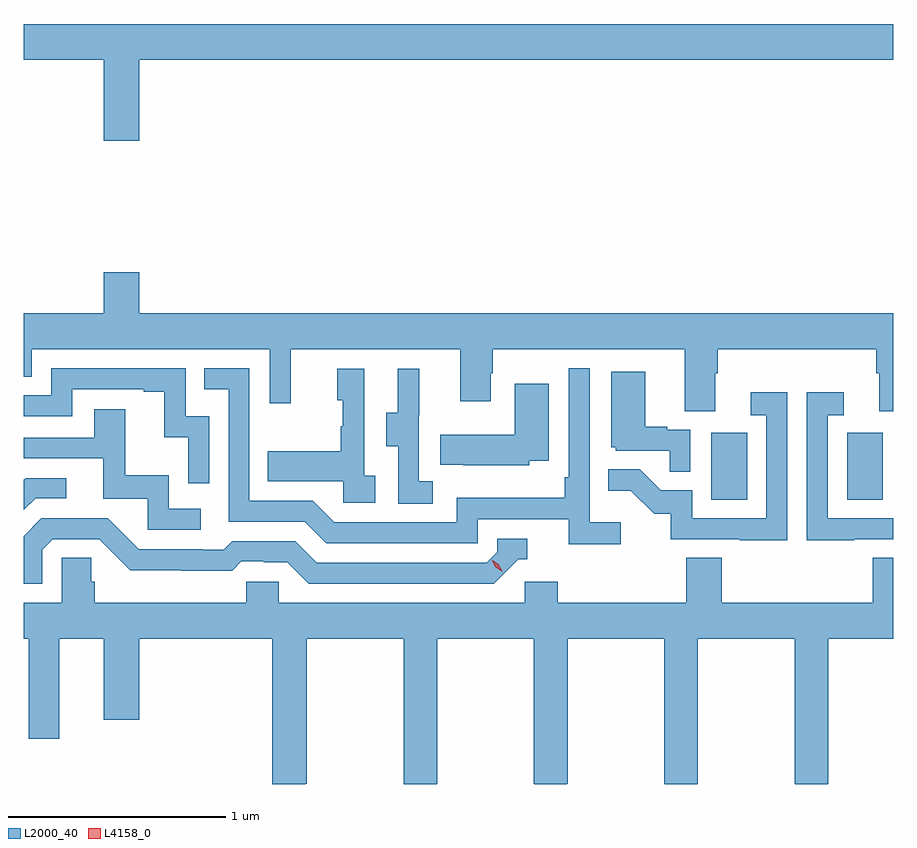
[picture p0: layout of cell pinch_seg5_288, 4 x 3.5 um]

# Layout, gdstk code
import gdstk
lib = gdstk.Library(unit=1e-6, precision=1e-09)
def R(c, l, rs):  # rectangles x0, y0, x1, y1
    for r in rs: c.add(gdstk.rectangle(r[:2], r[2:], *l))
def P(c, l, *ps):  # polygons
    for p in ps: c.add(gdstk.Polygon(p, *l))
L2000_40 = (2000, 40)
L4158_0 = (4158, 0)

pinch_seg5_288 = lib.new_cell('pinch_seg5_288')
R(pinch_seg5_288, L2000_40, [(947.024,909.348,947.188,909.655), (947.648,909.348,947.812,909.655)])
P(pinch_seg5_288, L2000_40, [(944.392,911.372),(947.86,911.372),(947.86,911.536),(943.86,911.536),(943.86,911.372),(944.228,911.372),(944.228,910.998),(944.392,910.998)],
  [(947.041,909.928),(947.054,909.928),(947.054,910.04),(947.783,910.04),(947.783,909.928),(947.795,909.928),(947.795,909.754),(947.86,909.754),(947.86,910.204),(944.392,910.204),(944.392,910.393),(944.228,910.393),(944.228,910.204),(943.86,910.204),(943.86,909.913),(943.896,909.913),(943.896,910.04),(944.991,910.04),(944.991,909.792),(945.089,909.792),(945.089,910.04),(945.869,910.04),(945.869,909.801),(946.009,909.801),(946.009,909.929),(946.017,909.929),(946.017,910.04),(946.901,910.04),(946.901,909.754),(947.041,909.754)],
  [(946.606,909.244),(946.464,909.244),(946.464,909.952),(946.368,909.952),(946.368,909.451),(946.348,909.451),(946.348,909.355),(945.852,909.355),(945.852,909.243),(945.288,909.243),(945.189,909.342),(944.898,909.342),(944.898,909.951),(944.689,909.951),(944.689,909.855),(944.802,909.855),(944.802,909.246),(945.152,909.246),(945.251,909.147),(945.948,909.147),(945.948,909.258),(946.367,909.258),(946.367,909.142),(946.606,909.142)],
  [(944.712,909.732),(944.604,909.732),(944.604,909.951),(943.986,909.951),(943.986,909.828),(943.86,909.828),(943.86,909.732),(944.082,909.732),(944.082,909.855),(944.411,909.855),(944.411,909.843),(944.507,909.843),(944.507,909.635),(944.616,909.635),(944.616,909.423),(944.712,909.423)],
  [(945.478,909.458),(945.426,909.458),(945.426,909.949),(945.302,909.949),(945.302,909.804),(945.328,909.804),(945.328,909.686),(945.318,909.686),(945.318,909.571),(944.983,909.571),(944.983,909.431),(945.33,909.431),(945.33,909.333),(945.478,909.333)],
  [(945.742,909.431),(945.678,909.431),(945.678,909.735),(945.68,909.735),(945.68,909.949),(945.581,909.949),(945.581,909.747),(945.527,909.747),(945.527,909.592),(945.582,909.592),(945.582,909.328),(945.742,909.328)],
  [(946.926,909.669),(946.82,909.669),(946.82,909.682),(946.72,909.682),(946.72,909.937),(946.562,909.937),(946.562,909.588),(946.584,909.588),(946.584,909.573),(946.831,909.573),(946.831,909.475),(946.926,909.475)],
  [(946.185,909.527),(946.276,909.527),(946.276,909.88),(946.118,909.88),(946.118,909.646),(945.775,909.646),(945.775,909.509),(945.883,909.509),(945.883,909.506),(946.185,909.506)],
  [(947.373,909.841),(947.205,909.841),(947.205,909.735),(947.277,909.735),(947.277,909.261),(946.935,909.261),(946.935,909.39),(946.791,909.39),(946.693,909.488),(946.549,909.488),(946.549,909.389),(946.653,909.389),(946.76,909.282),(946.837,909.282),(946.837,909.165),(947.155,909.165),(947.155,909.16),(947.373,909.16)],
  [(947.681,909.165),(947.86,909.165),(947.86,909.261),(947.559,909.261),(947.559,909.735),(947.632,909.735),(947.632,909.841),(947.463,909.841),(947.463,909.16),(947.681,909.16)],
  [(944.674,909.306),(944.526,909.306),(944.526,909.46),(944.327,909.46),(944.327,909.763),(944.183,909.763),(944.183,909.633),(943.86,909.633),(943.86,909.537),(944.225,909.537),(944.225,909.351),(944.43,909.351),(944.43,909.21),(944.674,909.21)],
  [(943.914,909.354),(944.056,909.354),(944.056,909.447),(943.868,909.447),(943.86,909.439),(943.86,909.3)],
  [(943.944,909.117),(943.992,909.165),(944.208,909.165),(944.35,909.023),(944.586,909.023),(944.586,909.021),(944.819,909.021),(944.861,909.063),(944.964,909.063),(944.964,909.06),(945.071,909.06),(945.17,908.961),(946.023,908.961),(946.134,909.072),(946.177,909.072),(946.177,909.168),(946.038,909.168),(946.038,909.105),(945.99,909.057),(945.207,909.057),(945.108,909.156),(944.819,909.156),(944.78,909.117),(944.681,909.117),(944.681,909.12),(944.388,909.12),(944.247,909.261),(943.941,909.261),(943.86,909.18),(943.86,908.961),(943.944,908.961)],
  [(945.033,908.97),(944.883,908.97),(944.883,908.872),(944.186,908.872),(944.186,908.97),(944.171,908.97),(944.171,909.08),(944.034,909.08),(944.034,908.872),(943.86,908.872),(943.86,908.708),(943.883,908.708),(943.883,908.247),(944.023,908.247),(944.023,908.708),(944.228,908.708),(944.228,908.334),(944.392,908.334),(944.392,908.708),(945.002,908.708),(945.002,908.039),(945.155,908.039),(945.155,908.041),(945.162,908.041),(945.162,908.708),(945.607,908.708),(945.607,908.041),(945.609,908.041),(945.609,908.039),(945.759,908.039),(945.759,908.041),(945.762,908.041),(945.762,908.708),(946.207,908.708),(946.207,908.041),(946.209,908.041),(946.209,908.039),(946.359,908.039),(946.359,908.041),(946.362,908.041),(946.362,908.708),(946.807,908.708),(946.807,908.041),(946.809,908.041),(946.809,908.039),(946.959,908.039),(946.959,908.041),(946.962,908.041),(946.962,908.708),(947.407,908.708),(947.407,908.041),(947.409,908.041),(947.409,908.039),(947.559,908.039),(947.559,908.041),(947.562,908.041),(947.562,908.708),(947.86,908.708),(947.86,909.08),(947.765,909.08),(947.765,908.872),(947.072,908.872),(947.072,909.08),(946.907,909.08),(946.907,908.872),(946.316,908.872),(946.316,908.97),(946.164,908.97),(946.164,908.872),(945.033,908.872)])
P(pinch_seg5_288, L4158_0, [(946.06,909.018),(946.029,909.038),(946.013,909.07),(946.013,909.071),(946.013,909.071),(946.044,909.051),(946.061,909.019),(946.061,909.018)])

lib.write_gds('pinch_seg5_288.gds')
